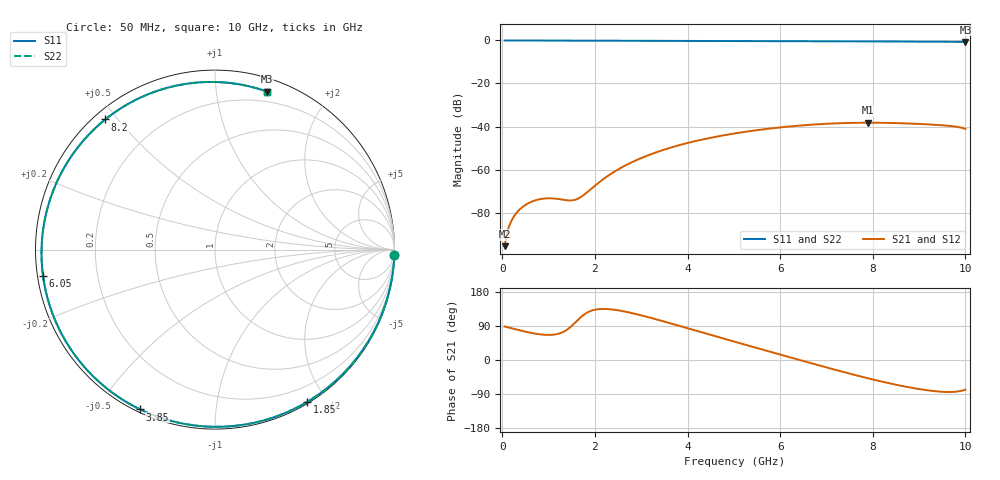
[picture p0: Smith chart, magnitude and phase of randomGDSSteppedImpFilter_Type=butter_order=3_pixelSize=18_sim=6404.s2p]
! freq	dB(S11)	phase(S11)	dB(S12)	phase(S12)
!  dB(S21)	phase(S21)	dB(S22)	phase(S22)
!S-par simulation data
#  GHz  S  DB  R 50
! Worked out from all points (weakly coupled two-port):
!   200 points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, 50 MHz to 10 GHz, reference 50 ohm
!   highest |S21| = -38.22 dB at 7.9 GHz (marker M1); lowest = -95.6 dB at 50 MHz (marker M2)
!   lowest |S11| = -0.7 dB at 10 GHz (marker M3), VSWR 26.34, Z = 5.5 + j68.8 ohm
!   |S11| at or under -10 dB: nowhere
!   |S22| runs from -0.7 to 0.0 dB; largest |S21 - S12| = 0
!   S11 on the Smith chart (normalised r, x): 50 MHz: 0, -69; 1.85 GHz: 0.02, -1.78; 3.85 GHz: 0.01, -0.64; 6.05 GHz: 0.02, -0.08; 8.2 GHz: 0.03, +0.46; 10 GHz: 0.11, +1.38
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0.05  -0.00 -1.7  -95.58 88.4  -95.58 88.4  -0.00 -1.7
0.3  -0.01 -9.8  -80.31 80.6  -80.31 80.6  -0.01 -9.8
0.55  -0.02 -17.9  -75.79 73.4  -75.79 73.4  -0.02 -17.9
0.8  -0.03 -26.0  -73.81 67.9  -73.81 67.9  -0.03 -26.0
1.05  -0.04 -33.9  -73.35 66.3  -73.35 66.3  -0.04 -33.9
1.5  -0.06 -48.0  -74.32 90.2  -74.32 90.2  -0.06 -48.0
1.75  -0.07 -55.7  -71.94 118.5  -71.94 118.5  -0.07 -55.7
1.85  -0.07 -58.7  -70.22 126.2  -70.22 126.2  -0.07 -58.7
2.2  -0.08 -69.2  -64.16 134.8  -64.16 134.8  -0.08 -69.2
2.55  -0.10 -79.4  -59.34 130.1  -59.34 130.1  -0.10 -79.3
3.4  -0.13 -103.0  -51.41 104.8  -51.41 104.8  -0.13 -103.0
3.85  -0.15 -115.1  -48.49 89.2  -48.49 89.2  -0.15 -115.1
5.05  -0.21 -146.0  -43.09 47.1  -43.09 47.1  -0.21 -146.0
6.05  -0.27 -171.3  -40.29 12.6  -40.29 12.6  -0.27 -171.3
6.7  -0.32 171.9  -39.10 -9.5  -39.10 -9.5  -0.32 171.9
7.3  -0.37 155.8  -38.44 -29.5  -38.44 -29.5  -0.37 155.8
7.9  -0.43 138.9  -38.22 -48.4  -38.22 -48.4  -0.43 138.9
8.2  -0.46 130.2  -38.26 -57.1  -38.26 -57.1  -0.46 130.2
8.35  -0.47 125.7  -38.32 -61.2  -38.32 -61.2  -0.47 125.7
9.2  -0.56 98.9  -39.00 -80.2  -39.00 -80.2  -0.56 98.9
9.75  -0.63 80.5  -39.92 -84.1  -39.92 -84.1  -0.63 80.4
10  -0.66 71.8  -41.10 -78.2  -41.10 -78.2  -0.66 71.8
